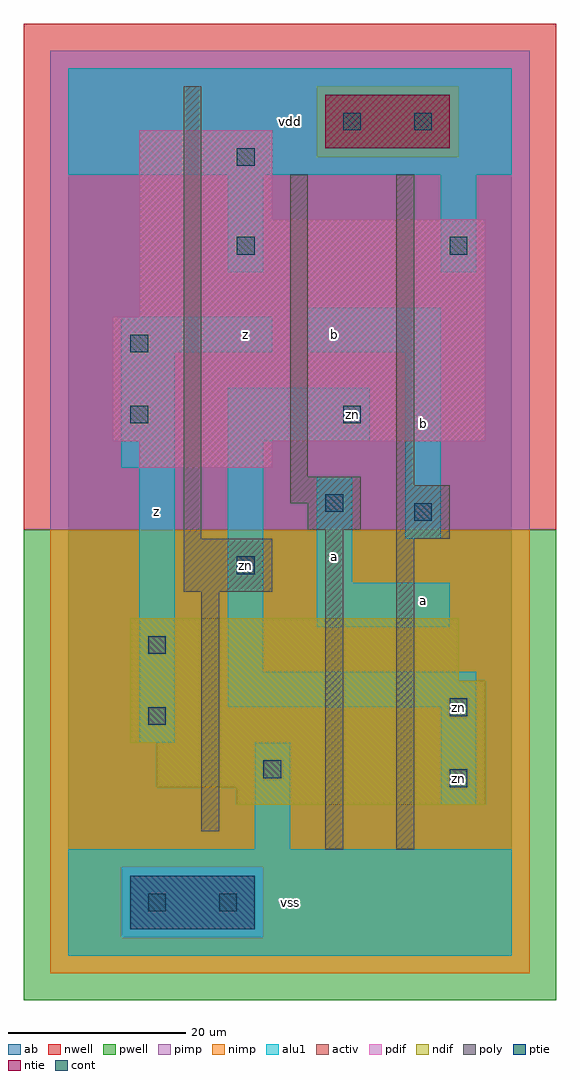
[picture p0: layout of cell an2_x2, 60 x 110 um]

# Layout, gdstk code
import gdstk
lib = gdstk.Library(unit=1e-6, precision=1e-09)
def R(c, l, rs):  # rectangles x0, y0, x1, y1
    for r in rs: c.add(gdstk.rectangle(r[:2], r[2:], *l))
ndif = (3, 0)
pdif = (4, 0)
ntie = (5, 0)
ptie = (6, 0)
cont = (25, 0)
pwell = (41, 0)
nwell = (42, 0)
activ = (43, 0)
pimp = (44, 0)
nimp = (45, 0)
poly = (46, 0)
alu1 = (49, 0)
ab = (63, 0)

an2_x2 = lib.new_cell('an2_x2')
R(an2_x2, ndif, [(19,17,47,19), (10,19,47,24), (7,24,47,31), (7,31,44,38)])
R(an2_x2, pdif, [(8,55,23,58), (5,58,47,72), (8,72,47,83), (8,83,23,93)])
R(an2_x2, ntie, [(29,91,43,97)])
R(an2_x2, ptie, [(7,3,21,9)])
R(an2_x2, cont, [(9,5,11,7), (17,5,19,7), (43,19,45,21), (22,20,24,22), (9,26,11,28), (43,27,45,29), (9,34,11,36), (19,43,21,45), (39,49,41,51), (29,50,31,52), (7,60,9,62), (31,60,33,62), (7,68,9,70), (19,79,21,81), (43,79,45,81), (19,89,21,91), (31,93,33,95), (39,93,41,95)])
R(an2_x2, pwell, [(-5,-5,55,48)])
R(an2_x2, nwell, [(-5,48,55,105)])
R(an2_x2, activ, [(7,3,21,9), (19,17,47,19), (10,19,47,24), (7,24,47,31), (7,31,44,38), (8,55,23,58), (5,58,47,72), (8,72,47,83), (8,83,23,93), (29,91,43,97)])
R(an2_x2, pimp, [(6,2,22,10), (-2,48,52,90), (-2,90,28,98), (44,90,52,98), (-2,98,52,102)])
R(an2_x2, nimp, [(-2,-2,52,2), (-2,2,6,10), (22,2,52,10), (-2,10,52,48), (28,90,44,98)])
R(an2_x2, poly, [(29,12,31,48), (37,12,39,47), (15,14,17,41), (13,41,23,47), (13,47,15,98), (37,47,43,53), (27,48,33,51), (25,51,33,54), (37,53,39,88), (25,54,27,88)])
R(an2_x2, alu1, [(0,0,50,12), (21,12,25,24), (42,17,46,28), (8,24,12,55), (18,28,46,32), (18,32,22,58), (28,37,43,42), (28,42,32,54), (38,47,42,68), (6,55,12,68), (18,58,34,64), (6,68,23,72), (27,68,42,73), (18,77,22,88), (42,77,46,88), (0,88,50,100)])
R(an2_x2, ab, [(0,0,50,100)])
an2_x2.add(gdstk.Label('zn', (20,44), layer=49, texttype=0))
an2_x2.add(gdstk.Label('zn', (44,28), layer=49, texttype=0))
an2_x2.add(gdstk.Label('zn', (44,20), layer=49, texttype=0))
an2_x2.add(gdstk.Label('zn', (32,61), layer=49, texttype=0))
an2_x2.add(gdstk.Label('z', (10,50), layer=49, texttype=0))
an2_x2.add(gdstk.Label('z', (20,70), layer=49, texttype=0))
an2_x2.add(gdstk.Label('vss', (25,6), layer=49, texttype=0))
an2_x2.add(gdstk.Label('a', (30,45), layer=49, texttype=0))
an2_x2.add(gdstk.Label('b', (30,70), layer=49, texttype=0))
an2_x2.add(gdstk.Label('vdd', (25,94), layer=49, texttype=0))
an2_x2.add(gdstk.Label('vdd', (25,94), layer=49, texttype=0))
an2_x2.add(gdstk.Label('a', (40,40), layer=49, texttype=0))
an2_x2.add(gdstk.Label('b', (40,60), layer=49, texttype=0))

lib.write_gds('an2_x2.gds')
